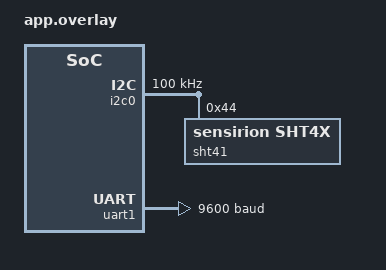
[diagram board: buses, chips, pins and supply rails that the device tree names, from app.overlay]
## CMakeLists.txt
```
cmake_minimum_required(VERSION 3.20.0)
find_package(Zephyr REQUIRED HINTS $ENV{ZEPHYR_BASE})
project(sht41_esp32)

# Enable SHT41 sensor driver
set(CONFIG_SHT4X y)

set(CMAKE_EXPORT_COMPILE_COMMANDS ON)
target_include_directories(app PRIVATE include)
target_sources(app PRIVATE src/main.cpp)
```

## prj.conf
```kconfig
# Enable I2C support
CONFIG_I2C=y

# Enable sensor subsystem
CONFIG_SENSOR=y

# Enable SHT4x sensor driver
CONFIG_SHT4X=y

# Enable console and logging
CONFIG_CONSOLE=y
CONFIG_LOG=y
CONFIG_LOG_DEFAULT_LEVEL=3

# Enable UART for console output (UART0)
CONFIG_SERIAL=y
CONFIG_UART_CONSOLE=y


# Enable GPIO for RS485 direction control
CONFIG_GPIO=y

# Enable main thread
CONFIG_MAIN_THREAD_PRIORITY=5
CONFIG_MAIN_STACK_SIZE=1024

# Enable floating point support for sensor readings
CONFIG_FPU=y

# Enable system workqueue for sensor operations
CONFIG_SYSTEM_WORKQUEUE_STACK_SIZE=1024

# Use newlib instead of picolibc to avoid compatibility issues
CONFIG_MINIMAL_LIBC=y
CONFIG_PICOLIBC=n
```

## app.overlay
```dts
&i2c0 {
    status = "okay";
    clock-frequency = <I2C_BITRATE_STANDARD>;

    sht41: sht4x@44 {
        compatible = "sensirion,sht4x";
        reg = <0x44>;
        repeatability = <2>;
    };
};

/* Configure UART1 for RS485 communication */
&uart1 {
    status = "okay";
    current-speed = <9600>;  // Standard RS485 speed
    pinctrl-0 = <&uart1_default>;
    pinctrl-names = "default";
};
```

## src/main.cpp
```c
#include <zephyr/kernel.h>
#include <zephyr/device.h>
#include <zephyr/drivers/i2c.h>
#include <zephyr/drivers/sensor.h>
#include <zephyr/drivers/uart.h>
#include <zephyr/drivers/gpio.h>
#include <zephyr/sys/printk.h>
#include <zephyr/logging/log.h>
#include <stdio.h>


LOG_MODULE_REGISTER(sht41_app);

#define SHT4X_NODE DT_COMPAT_GET_ANY_STATUS_OKAY(sensirion_sht4x)
#define UART_NODE DT_NODELABEL(uart1)
#define RS485_DIR_PIN 4

static const struct device *sht4x = DEVICE_DT_GET(SHT4X_NODE);
static const struct device *uart_dev = DEVICE_DT_GET(UART_NODE);
static const struct device *gpio_dev = DEVICE_DT_GET(DT_NODELABEL(gpio0));

// converts sensor value to double
static void sensor_value_to_double(struct sensor_value *val, double *dval)
{
    *dval = (double)val->val1 + (double)val->val2 / 1000000;
}

static void rs485_send(const char *data)
{
    // set DE/RE high to enable transmit mode
    gpio_pin_set(gpio_dev, RS485_DIR_PIN, 1);

    uart_poll_out(uart_dev, '\n');
    for (int i = 0; data[i] != '\0'; i++) {
        uart_poll_out(uart_dev, data[i]);
    }

    // small delay to ensure data is sent before disabling TX
    k_msleep(10);

    // set DE/RE low to go back to receive mode
    gpio_pin_set(gpio_dev, RS485_DIR_PIN, 0);
}

// performs the sensor reading sequence
static int process_sample(const struct device *dev)
{
    // declare variables for temperature and humidity
    struct sensor_value temp, humidity;
    double temp_d, humidity_d;
    int ret;

    // fetch the sample from the sensor
    ret = sensor_sample_fetch(dev);
    if (ret < 0) {
        LOG_ERR("Failed to fetch sample: %d", ret);
        return ret;
    }

    // get the temperature from the sensor
    ret = sensor_channel_get(dev, SENSOR_CHAN_AMBIENT_TEMP, &temp);
    if (ret < 0) {
        LOG_ERR("Failed to get temperature: %d", ret);
        return ret;
    }

    // get the humidity from the sensor
    ret = sensor_channel_get(dev, SENSOR_CHAN_HUMIDITY, &humidity);
    if (ret < 0) {
        LOG_ERR("Failed to get humidity: %d", ret);
        return ret;
    }

    // convert the sensor values to doubles
    sensor_value_to_double(&temp, &temp_d);
    sensor_value_to_double(&humidity, &humidity_d);

    // print the temperature and humidity
    printk("Temperature: %.2f °C\n", temp_d);
    printk("Humidity: %.2f %%RH\n", humidity_d);

    char buffer[64];
    snprintf(buffer, sizeof(buffer), "T=%.2fC H=%.2f%%\r\n", temp_d, humidity_d);
    rs485_send(buffer);

    // return success
    return 0;
}

// main function
int main(void)
{
    // check if the sensor is ready
    if (!device_is_ready(sht4x)) {
        LOG_ERR("SHT4X device not ready");
        return -1;
    }

    LOG_INF("SHT4X sensor ready");

    if (!device_is_ready(uart_dev)) {
        LOG_ERR("UART device not ready");
        return -1;
    }

    if (!device_is_ready(gpio_dev)) {
        LOG_ERR("GPIO device not ready");
        return -1;
    }

    gpio_pin_configure(gpio_dev, RS485_DIR_PIN, GPIO_OUTPUT_INACTIVE);

    LOG_INF("RS485 communication initialized");

    // loop forever
    while (1) {
        // process the sample
        int ret = process_sample(sht4x);
        // if there is an error, print an error message
        if (ret < 0) {
            LOG_ERR("Error processing sample: %d", ret);
        }
        
        k_sleep(K_SECONDS(2));
    }

    // return success
    return 0;
}
```
